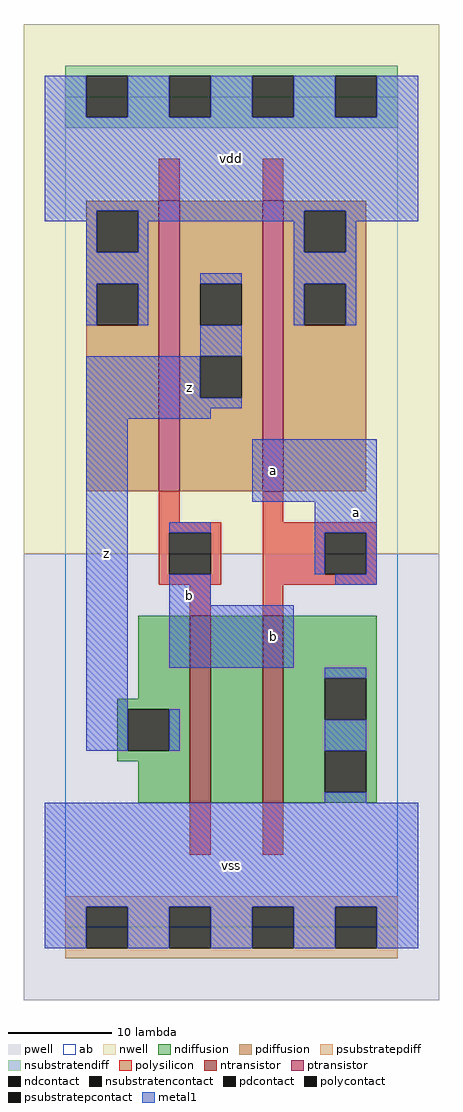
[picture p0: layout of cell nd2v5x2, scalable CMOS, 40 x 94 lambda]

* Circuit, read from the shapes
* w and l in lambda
.subckt nd2v5x2 a b vdd vss z
M1 n1 b z vss nfet w=18 l=2
M2 vss a n1 vss nfet w=18 l=2
M3 z b vdd vdd pfet w=28 l=2
M4 vdd a z vdd pfet w=28 l=2
.ends

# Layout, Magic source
magic
tech scmos
<< ab >>
rect 0 0 32 80
<< pwell >>
rect -4 -7 36 36
<< nwell >>
rect -4 36 36 87
<< polysilicon >>
rect 9 70 11 74
rect 19 70 21 74
rect 9 39 11 42
rect 19 39 21 42
rect 9 38 15 39
rect 9 34 10 38
rect 14 34 15 38
rect 9 33 15 34
rect 19 38 30 39
rect 19 34 25 38
rect 29 34 30 38
rect 19 33 30 34
rect 12 30 14 33
rect 19 30 21 33
rect 12 7 14 12
rect 19 7 21 12
<< ndiffusion >>
rect 7 22 12 30
rect 5 21 12 22
rect 5 17 6 21
rect 10 17 12 21
rect 5 16 12 17
rect 7 12 12 16
rect 14 12 19 30
rect 21 24 30 30
rect 21 20 25 24
rect 29 20 30 24
rect 21 17 30 20
rect 21 13 25 17
rect 29 13 30 17
rect 21 12 30 13
<< pdiffusion >>
rect 2 69 9 70
rect 2 65 3 69
rect 7 65 9 69
rect 2 62 9 65
rect 2 58 3 62
rect 7 58 9 62
rect 2 42 9 58
rect 11 62 19 70
rect 11 58 13 62
rect 17 58 19 62
rect 11 55 19 58
rect 11 51 13 55
rect 17 51 19 55
rect 11 42 19 51
rect 21 69 29 70
rect 21 65 23 69
rect 27 65 29 69
rect 21 62 29 65
rect 21 58 23 62
rect 27 58 29 62
rect 21 42 29 58
<< metal1 >>
rect -2 78 2 82
rect 6 78 10 82
rect 14 78 18 82
rect 22 78 26 82
rect 30 78 34 82
rect -2 69 34 78
rect -2 68 3 69
rect 2 65 3 68
rect 7 68 23 69
rect 7 65 8 68
rect 2 62 8 65
rect 22 65 23 68
rect 27 68 34 69
rect 27 65 28 68
rect 2 58 3 62
rect 7 58 8 62
rect 13 62 17 63
rect 22 62 28 65
rect 22 58 23 62
rect 27 58 28 62
rect 13 55 17 58
rect 2 51 13 55
rect 2 50 17 51
rect 2 49 14 50
rect 2 17 6 49
rect 18 41 30 47
rect 10 38 14 39
rect 24 38 30 41
rect 24 34 25 38
rect 29 34 30 38
rect 10 31 14 34
rect 26 33 30 34
rect 10 25 22 31
rect 25 24 29 25
rect 10 17 11 21
rect 25 17 29 20
rect 25 12 29 13
rect -2 2 34 12
rect -2 -2 2 2
rect 6 -2 10 2
rect 14 -2 18 2
rect 22 -2 26 2
rect 30 -2 34 2
<< ntransistor >>
rect 12 12 14 30
rect 19 12 21 30
<< ptransistor >>
rect 9 42 11 70
rect 19 42 21 70
<< polycontact >>
rect 10 34 14 38
rect 25 34 29 38
<< ndcontact >>
rect 6 17 10 21
rect 25 20 29 24
rect 25 13 29 17
<< pdcontact >>
rect 3 65 7 69
rect 3 58 7 62
rect 13 58 17 62
rect 13 51 17 55
rect 23 65 27 69
rect 23 58 27 62
<< psubstratepcontact >>
rect 2 -2 6 2
rect 10 -2 14 2
rect 18 -2 22 2
rect 26 -2 30 2
<< nsubstratencontact >>
rect 2 78 6 82
rect 10 78 14 82
rect 18 78 22 82
rect 26 78 30 82
<< psubstratepdiff >>
rect 0 2 32 3
rect 0 -2 2 2
rect 6 -2 10 2
rect 14 -2 18 2
rect 22 -2 26 2
rect 30 -2 32 2
rect 0 -3 32 -2
<< nsubstratendiff >>
rect 0 82 32 83
rect 0 78 2 82
rect 6 78 10 82
rect 14 78 18 82
rect 22 78 26 82
rect 30 78 32 82
rect 0 77 32 78
<< labels >>
rlabel metal1 4 36 4 36 6 z
rlabel metal1 12 32 12 32 6 b
rlabel metal1 12 52 12 52 6 z
rlabel metal1 16 6 16 6 6 vss
rlabel metal1 20 28 20 28 6 b
rlabel metal1 20 44 20 44 6 a
rlabel metal1 16 74 16 74 6 vdd
rlabel metal1 28 40 28 40 6 a
<< end >>
